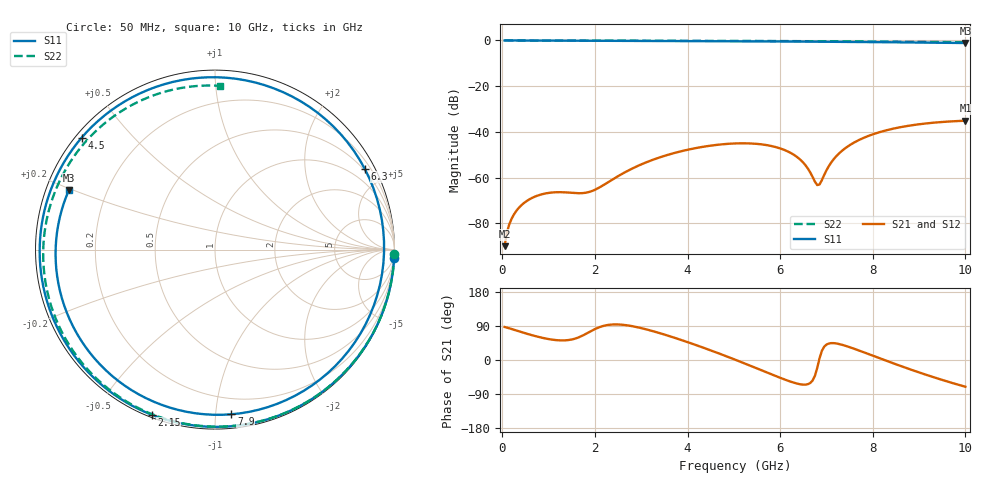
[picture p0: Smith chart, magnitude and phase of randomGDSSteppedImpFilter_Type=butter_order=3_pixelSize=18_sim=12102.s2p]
! freq	dB(S11)	phase(S11)	dB(S12)	phase(S12)
!  dB(S21)	phase(S21)	dB(S22)	phase(S22)
!S-par simulation data
#  GHz  S  DB  R 50
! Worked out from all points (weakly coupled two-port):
!   200 points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, 50 MHz to 10 GHz, reference 50 ohm
!   highest |S21| = -35.10 dB at 10 GHz (marker M1); lowest = -90.0 dB at 50 MHz (marker M2)
!   lowest |S11| = -1.1 dB at 10 GHz (marker M3), VSWR 15.52, Z = 3.35 + j9.76 ohm
!   |S11| at or under -10 dB: nowhere
!   |S22| runs from -0.8 to 0.0 dB; largest |S21 - S12| = 0
!   S11 on the Smith chart (normalised r, x): 50 MHz: 1, -41; 2.15 GHz: 0.01, -0.69; 4.5 GHz: 0.02, +0.36; 6.3 GHz: 0.44, +3.93; 7.9 GHz: 0.09, -1.10; 10 GHz: 0.07, +0.20
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0.05  -0.01 -2.8  -89.96 87.1  -89.96 87.1  -0.00 -1.4
0.15  -0.01 -8.3  -80.46 83.7  -80.46 83.7  -0.01 -4.0
0.4  -0.03 -22.1  -72.30 74.1  -72.30 74.1  -0.01 -10.6
0.75  -0.05 -41.1  -67.93 61.9  -67.93 61.9  -0.02 -19.9
1.25  -0.08 -67.2  -66.35 51.7  -66.35 51.7  -0.04 -32.9
1.75  -0.11 -92.0  -66.72 65.3  -66.72 65.3  -0.06 -45.8
2.15  -0.13 -111.0  -63.67 88.8  -63.67 88.8  -0.07 -55.9
2.8  -0.16 -140.7  -56.07 89.4  -56.07 89.4  -0.09 -71.9
3.4  -0.19 -167.6  -51.13 70.9  -51.13 70.9  -0.11 -86.5
3.95  -0.22 167.0  -48.03 49.3  -48.03 49.3  -0.14 -99.5
4.5  -0.26 139.9  -46.00 25.4  -46.00 25.4  -0.16 -112.4
5.05  -0.32 110.1  -45.02 -0.2  -45.02 -0.2  -0.19 -125.3
5.7  -0.39 69.9  -45.73 -32.2  -45.73 -32.2  -0.24 -140.6
6.3  -0.46 28.3  -50.05 -60.0  -50.05 -60.0  -0.29 -155.1
6.7  -0.52 -0.9  -59.65 -54.3  -59.65 -54.3  -0.32 -165.1
6.85  -0.54 -11.9  -62.99 4.4  -62.99 4.4  -0.34 -168.9
7.05  -0.57 -26.4  -54.99 43.5  -54.99 43.5  -0.36 -174.1
7.25  -0.60 -40.6  -49.83 42.8  -49.83 42.8  -0.38 -179.4
7.9  -0.70 -84.3  -41.79 16.0  -41.79 16.0  -0.45 162.3
8.35  -0.79 -112.0  -39.00 -4.6  -39.00 -4.6  -0.51 148.7
9.2  -0.95 -159.7  -36.18 -40.9  -36.18 -40.9  -0.64 119.8
10  -1.12 157.8  -35.10 -70.6  -35.10 -70.6  -0.79 88.3
